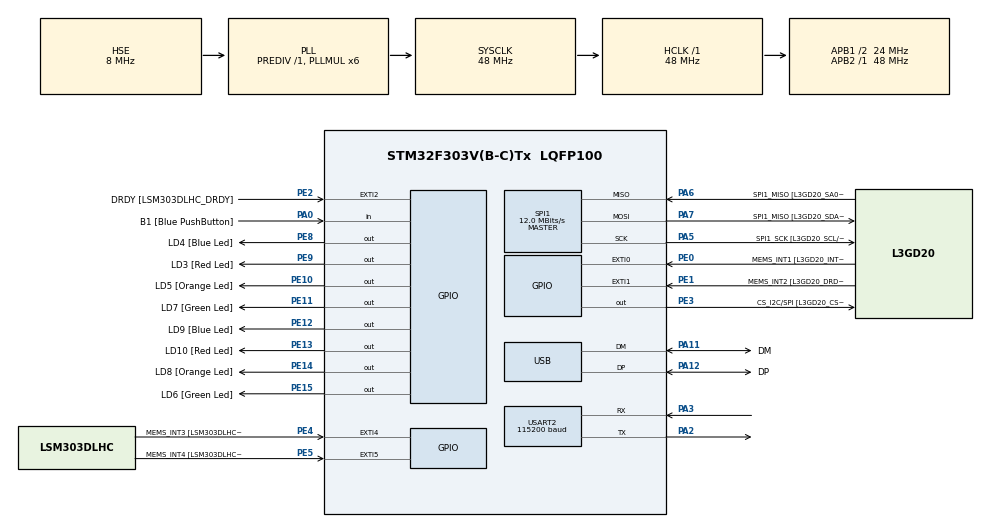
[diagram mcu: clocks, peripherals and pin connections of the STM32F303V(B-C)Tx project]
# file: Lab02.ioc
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Mcu.Family=STM32F3
Mcu.Name=STM32F303V(B-C)Tx
Mcu.Package=LQFP100
NVIC.PriorityGroup=NVIC_PRIORITYGROUP_0
PA0.GPIO_Label=B1 [Blue PushButton]
PA0.Signal=GPIO_Input
PA11.GPIO_Label=DM
PA11.Mode=Device
PA11.Signal=USB_DM
PA12.GPIO_Label=DP
PA12.Mode=Device
PA12.Signal=USB_DP
PA13.GPIO_Label=SWDIO
PA13.Mode=Serial_Wire
PA13.Signal=SYS_JTMS-SWDIO
PA14.GPIO_Label=SWCLK
PA14.Mode=Serial_Wire
PA14.Signal=SYS_JTCK-SWCLK
PA2.Mode=Asynchronous
PA2.Signal=USART2_TX
PA3.Mode=Asynchronous
PA3.Signal=USART2_RX
PA5.GPIO_Label=SPI1_SCK [L3GD20_SCL/SPC]
PA5.Mode=Full_Duplex_Master
PA5.Signal=SPI1_SCK
PA6.GPIO_Label=SPI1_MISO [L3GD20_SA0/SDO]
PA6.Mode=Full_Duplex_Master
PA6.Signal=SPI1_MISO
PA7.GPIO_Label=SPI1_MISO [L3GD20_SDA/SDI/SDO]
PA7.Mode=Full_Duplex_Master
PA7.Signal=SPI1_MOSI
PB3.GPIO_Label=SWO
PB3.Signal=SYS_JTDO-TRACESWO
PB6.GPIO_Label=I2C1_SCL [LSM303DLHC_SCL]
PB6.GPIO_Pu=GPIO_PULLUP
PB6.Signal=I2C1_SCL
PB7.GPIO_Label=I2C1_SDA [LSM303DLHC_SDA]
PB7.GPIO_Pu=GPIO_PULLUP
PB7.Signal=I2C1_SDA
PC14-OSC32_IN.GPIO_Label=OSC32_IN
PC14-OSC32_IN.Signal=RCC_OSC32_IN
PC15-OSC32_OUT.GPIO_Label=OSC32_OUT
PC15-OSC32_OUT.Signal=RCC_OSC32_OUT
PE0.GPIO_Label=MEMS_INT1 [L3GD20_INT1]
PE0.GPIO_ModeDefaultEXTI=GPIO_MODE_EVT_RISING
PE0.Signal=GPXTI0
PE1.GPIO_Label=MEMS_INT2 [L3GD20_DRDY/INT2]
PE1.GPIO_ModeDefaultEXTI=GPIO_MODE_EVT_RISING
PE1.Signal=GPXTI1
PE10.GPIO_Label=LD5 [Orange Led]
PE10.Signal=GPIO_Output
PE11.GPIO_Label=LD7 [Green Led]
PE11.Signal=GPIO_Output
PE12.GPIO_Label=LD9 [Blue Led]
PE12.Signal=GPIO_Output
PE13.GPIO_Label=LD10 [Red Led]
PE13.Signal=GPIO_Output
PE14.GPIO_Label=LD8 [Orange Led]
PE14.Signal=GPIO_Output
PE15.GPIO_Label=LD6 [Green Led]
PE15.Signal=GPIO_Output
PE2.GPIO_Label=DRDY [LSM303DLHC_DRDY]
PE2.GPIO_ModeDefaultEXTI=GPIO_MODE_EVT_RISING
PE2.Signal=GPXTI2
PE3.GPIO_Label=CS_I2C/SPI [L3GD20_CS_I2C/SPI]
PE3.Signal=GPIO_Output
PE4.GPIO_Label=MEMS_INT3 [LSM303DLHC_INT1]
PE4.GPIO_ModeDefaultEXTI=GPIO_MODE_EVT_RISING
PE4.Signal=GPXTI4
PE5.GPIO_Label=MEMS_INT4 [LSM303DLHC_INT2]
PE5.GPIO_ModeDefaultEXTI=GPIO_MODE_EVT_RISING
PE5.Signal=GPXTI5
PE8.GPIO_Label=LD4 [Blue Led]
PE8.Signal=GPIO_Output
PE9.GPIO_Label=LD3 [Red Led]
PE9.Signal=GPIO_Output
PF0-OSC_IN.GPIO_Label=OSC_IN
PF0-OSC_IN.Mode=HSE-External-Clock-Source
PF0-OSC_IN.Signal=RCC_OSC_IN
PF1-OSC_OUT.GPIO_Label=OSC_OUT
PF1-OSC_OUT.Signal=RCC_OSC_OUT
ProjectManager.HeapSize=0x200
ProjectManager.StackSize=0x400
ProjectManager.TargetToolchain=CMake
RCC.AHBFreq_Value=48000000
RCC.APB1CLKDivider=RCC_HCLK_DIV2
RCC.APB1Freq_Value=24000000
RCC.APB1TimFreq_Value=48000000
RCC.APB2Freq_Value=48000000
RCC.APB2TimFreq_Value=48000000
RCC.CortexFreq_Value=48000000
RCC.HCLKFreq_Value=48000000
RCC.HSE_VALUE=8000000
RCC.HSI_VALUE=8000000
RCC.LSE_VALUE=32768
RCC.PLLMUL=RCC_PLL_MUL6
RCC.SYSCLKFreq_VALUE=48000000
RCC.SYSCLKSourceVirtual=RCC_SYSCLKSOURCE_PLLCLK
RCC.USBFreq_Value=48000000
SPI1.BaudRatePrescaler=SPI_BAUDRATEPRESCALER_4
SPI1.BaudRatePrescaler-Full_Duplex_Master=SPI_BAUDRATEPRESCALER_2
SPI1.CalculateBaudRate=12.0 MBits/s
SPI1.CalculateBaudRate-Full_Duplex_Master=24.0 MBits/s
SPI1.Direction=SPI_DIRECTION_2LINES
SPI1.Mode=SPI_MODE_MASTER
SPI1.Mode-Full_Duplex_Master=SPI_MODE_MASTER
SPI1.VirtualType=VM_MASTER
USART2.BaudRate=115200
USART2.VirtualMode-Asynchronous=VM_ASYNC
board=STM32F3DISCOVERY

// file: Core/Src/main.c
/* USER CODE BEGIN Header */
/**
  ******************************************************************************
  * @file           : main.c
  * @brief          : Main program body
  ******************************************************************************
  * @attention
  *
  * Copyright (c) 2026 STMicroelectronics.
  * All rights reserved.
  *
  * This software is licensed under terms that can be found in the LICENSE file
  * in the root directory of this software component.
  * If no LICENSE file comes with this software, it is provided AS-IS.
  *
  ******************************************************************************
  */
/* USER CODE END Header */
#include "main.h"

SPI_HandleTypeDef hspi1;

UART_HandleTypeDef huart2;

PCD_HandleTypeDef hpcd_USB_FS;

void SystemClock_Config(void);
static void MX_GPIO_Init(void);
static void MX_SPI1_Init(void);
static void MX_USART2_UART_Init(void);
static void MX_USB_PCD_Init(void);

/* USER CODE BEGIN 0 */
void myPrintf(const char* fmt, ...) {
    char buffer[256];
    va_list args;
    va_start(args, fmt);
    int l = vsnprintf(buffer, sizeof(buffer), fmt, args);
    va_end(args);
    if (l > 0) {
        HAL_UART_Transmit(&huart2, (uint8_t*)buffer, l, HAL_MAX_DELAY);
    }
}

/* USER CODE END 0 */

int main(void)
{

  /* MCU Configuration--------------------------------------------------------*/

  /* Reset of all peripherals, Initializes the Flash interface and the Systick. */
  HAL_Init();

  /* Configure the system clock */
  SystemClock_Config();

  /* Initialize all configured peripherals */
  MX_GPIO_Init();
  MX_SPI1_Init();
  MX_USART2_UART_Init();
  MX_USB_PCD_Init();

  /* Infinite loop */
  while (1)
  {

    /* USER CODE BEGIN 3 */
    //Task1
    int x = 42;
    float y = 3.14;
    myPrintf("Value of x = %d, y = %f \r\n", x, y);

    int a=10; int b=20;

    //Task2
    int lhs=(a+b)*(a+b);
    int rhs= a*a + b*b + 2*a*b;
    myPrintf("LHS=%d, RHS=%d\r\n",lhs,rhs);
    HAL_Delay(100);

    //Task3
    char str[] = "Microcontrollers";
    int key=1000;
    for (int i=0; i< strlen(str);i++) {
      str[i]=str[i] + (key%256);
    }
    myPrintf("Encrypted string: %s\r\n", str);
    HAL_Delay(100);
    for (int i=0; i<strlen(str);i++) {
      str[i]=str[i] - (key%256);
    }
    myPrintf("Decrypted String: %s\r\n", str);
    HAL_Delay(100);

    //Task4

    int A[2][2] = {
        {1, 2},
        {3, 4}
    };

    int B[2][2] = {
        {5, 6},
        {7, 8}
    };

    int C[2][2];

    for (int i = 0; i < 2; i++)
    {
        for (int j = 0; j < 2; j++)
        {
            C[i][j] = 0;
            for (int k = 0; k < 2; k++)
            {
                C[i][j] += A[i][k] * B[k][j];
            }
        }
    }

    myPrintf("Matrix A:\r\n");
    for (int i = 0; i < 2; i++)
    {
        for (int j = 0; j < 2; j++)
        {
            myPrintf("%d ", A[i][j]);
        }
        myPrintf("\r\n");
    }

    myPrintf("Matrix B:\r\n");
    for (int i = 0; i < 2; i++)
    {
        for (int j = 0; j < 2; j++)
        {
            myPrintf("%d ", B[i][j]);
        }
        myPrintf("\r\n");
    }

    myPrintf("Matrix C (A*B):\r\n");
    for (int i = 0; i < 2; i++)
    {
        for (int j = 0; j < 2; j++)
        {
            myPrintf("%d ", C[i][j]);
        }
        myPrintf("\r\n");
    }

    HAL_Delay(2000);

    //Task5
    myPrintf("Armstrong Numbers between 100 and 999:\r\n");

    for (int num = 100; num <= 999; num++)
    {
        int temp = num;
        int sum = 0;

        while (temp > 0)
        {
            int digit = temp % 10;
            sum += digit * digit * digit;
            temp /= 10;
        }

        if (sum == num)
        {
            myPrintf("%d\r\n", num);
        }
    }

    HAL_Delay(3000);

  }
  /* USER CODE END 3 */
}

void SystemClock_Config(void)
{
  RCC_OscInitTypeDef RCC_OscInitStruct = {0};
  RCC_ClkInitTypeDef RCC_ClkInitStruct = {0};
  RCC_PeriphCLKInitTypeDef PeriphClkInit = {0};

  /** Initializes the RCC Oscillators according to the specified parameters
  * in the RCC_OscInitTypeDef structure.
  */
  RCC_OscInitStruct.OscillatorType = RCC_OSCILLATORTYPE_HSE;
  RCC_OscInitStruct.HSEState = RCC_HSE_BYPASS;
  RCC_OscInitStruct.HSEPredivValue = RCC_HSE_PREDIV_DIV1;
  RCC_OscInitStruct.HSIState = RCC_HSI_ON;
  RCC_OscInitStruct.PLL.PLLState = RCC_PLL_ON;
  RCC_OscInitStruct.PLL.PLLSource = RCC_PLLSOURCE_HSE;
  RCC_OscInitStruct.PLL.PLLMUL = RCC_PLL_MUL6;
  if (HAL_RCC_OscConfig(&RCC_OscInitStruct) != HAL_OK)
  {
    Error_Handler();
  }

  /** Initializes the CPU, AHB and APB buses clocks
  */
  RCC_ClkInitStruct.ClockType = RCC_CLOCKTYPE_HCLK|RCC_CLOCKTYPE_SYSCLK
                              |RCC_CLOCKTYPE_PCLK1|RCC_CLOCKTYPE_PCLK2;
  RCC_ClkInitStruct.SYSCLKSource = RCC_SYSCLKSOURCE_PLLCLK;
  RCC_ClkInitStruct.AHBCLKDivider = RCC_SYSCLK_DIV1;
  RCC_ClkInitStruct.APB1CLKDivider = RCC_HCLK_DIV2;
  RCC_ClkInitStruct.APB2CLKDivider = RCC_HCLK_DIV1;

  if (HAL_RCC_ClockConfig(&RCC_ClkInitStruct, FLASH_LATENCY_1) != HAL_OK)
  {
    Error_Handler();
  }
  PeriphClkInit.PeriphClockSelection = RCC_PERIPHCLK_USB|RCC_PERIPHCLK_USART2;
  PeriphClkInit.Usart2ClockSelection = RCC_USART2CLKSOURCE_PCLK1;
  PeriphClkInit.USBClockSelection = RCC_USBCLKSOURCE_PLL;
  if (HAL_RCCEx_PeriphCLKConfig(&PeriphClkInit) != HAL_OK)
  {
    Error_Handler();
  }
}

static void MX_SPI1_Init(void)
{

  /* SPI1 parameter configuration*/
  hspi1.Instance = SPI1;
  hspi1.Init.Mode = SPI_MODE_MASTER;
  hspi1.Init.Direction = SPI_DIRECTION_2LINES;
  hspi1.Init.DataSize = SPI_DATASIZE_4BIT;
  hspi1.Init.CLKPolarity = SPI_POLARITY_LOW;
  hspi1.Init.CLKPhase = SPI_PHASE_1EDGE;
  hspi1.Init.NSS = SPI_NSS_SOFT;
  hspi1.Init.BaudRatePrescaler = SPI_BAUDRATEPRESCALER_4;
  hspi1.Init.FirstBit = SPI_FIRSTBIT_MSB;
  hspi1.Init.TIMode = SPI_TIMODE_DISABLE;
  hspi1.Init.CRCCalculation = SPI_CRCCALCULATION_DISABLE;
  hspi1.Init.CRCPolynomial = 7;
  hspi1.Init.CRCLength = SPI_CRC_LENGTH_DATASIZE;
  hspi1.Init.NSSPMode = SPI_NSS_PULSE_ENABLE;
  if (HAL_SPI_Init(&hspi1) != HAL_OK)
  {
    Error_Handler();
  }

}

static void MX_USART2_UART_Init(void)
{

  huart2.Instance = USART2;
  huart2.Init.BaudRate = 115200;
  huart2.Init.WordLength = UART_WORDLENGTH_8B;
  huart2.Init.StopBits = UART_STOPBITS_1;
  huart2.Init.Parity = UART_PARITY_NONE;
  huart2.Init.Mode = UART_MODE_TX_RX;
  huart2.Init.HwFlowCtl = UART_HWCONTROL_NONE;
  huart2.Init.OverSampling = UART_OVERSAMPLING_16;
  huart2.Init.OneBitSampling = UART_ONE_BIT_SAMPLE_DISABLE;
  huart2.AdvancedInit.AdvFeatureInit = UART_ADVFEATURE_NO_INIT;
  if (HAL_UART_Init(&huart2) != HAL_OK)
  {
    Error_Handler();
  }

}

static void MX_USB_PCD_Init(void)
{

  hpcd_USB_FS.Instance = USB;
  hpcd_USB_FS.Init.dev_endpoints = 8;
  hpcd_USB_FS.Init.speed = PCD_SPEED_FULL;
  hpcd_USB_FS.Init.phy_itface = PCD_PHY_EMBEDDED;
  hpcd_USB_FS.Init.low_power_enable = DISABLE;
  hpcd_USB_FS.Init.battery_charging_enable = DISABLE;
  if (HAL_PCD_Init(&hpcd_USB_FS) != HAL_OK)
  {
    Error_Handler();
  }

}

static void MX_GPIO_Init(void)
{
  GPIO_InitTypeDef GPIO_InitStruct = {0};

  /* GPIO Ports Clock Enable */
  __HAL_RCC_GPIOE_CLK_ENABLE();
  __HAL_RCC_GPIOC_CLK_ENABLE();
  __HAL_RCC_GPIOF_CLK_ENABLE();
  __HAL_RCC_GPIOA_CLK_ENABLE();
  __HAL_RCC_GPIOB_CLK_ENABLE();

  /*Configure GPIO pin Output Level */
  HAL_GPIO_WritePin(GPIOE, CS_I2C_SPI_Pin|LD4_Pin|LD3_Pin|LD5_Pin
                          |LD7_Pin|LD9_Pin|LD10_Pin|LD8_Pin
                          |LD6_Pin, GPIO_PIN_RESET);

  /*Configure GPIO pins : DRDY_Pin MEMS_INT3_Pin MEMS_INT4_Pin MEMS_INT1_Pin
                           MEMS_INT2_Pin */
  GPIO_InitStruct.Pin = DRDY_Pin|MEMS_INT3_Pin|MEMS_INT4_Pin|MEMS_INT1_Pin
                          |MEMS_INT2_Pin;
  GPIO_InitStruct.Mode = GPIO_MODE_EVT_RISING;
  GPIO_InitStruct.Pull = GPIO_NOPULL;
  HAL_GPIO_Init(GPIOE, &GPIO_InitStruct);

  /*Configure GPIO pins : CS_I2C_SPI_Pin LD4_Pin LD3_Pin LD5_Pin
                           LD7_Pin LD9_Pin LD10_Pin LD8_Pin
                           LD6_Pin */
  GPIO_InitStruct.Pin = CS_I2C_SPI_Pin|LD4_Pin|LD3_Pin|LD5_Pin
                          |LD7_Pin|LD9_Pin|LD10_Pin|LD8_Pin
                          |LD6_Pin;
  GPIO_InitStruct.Mode = GPIO_MODE_OUTPUT_PP;
  GPIO_InitStruct.Pull = GPIO_NOPULL;
  GPIO_InitStruct.Speed = GPIO_SPEED_FREQ_LOW;
  HAL_GPIO_Init(GPIOE, &GPIO_InitStruct);

  /*Configure GPIO pin : B1_Pin */
  GPIO_InitStruct.Pin = B1_Pin;
  GPIO_InitStruct.Mode = GPIO_MODE_INPUT;
  GPIO_InitStruct.Pull = GPIO_NOPULL;
  HAL_GPIO_Init(B1_GPIO_Port, &GPIO_InitStruct);

  /*Configure GPIO pins : I2C1_SCL_Pin I2C1_SDA_Pin */
  GPIO_InitStruct.Pin = I2C1_SCL_Pin|I2C1_SDA_Pin;
  GPIO_InitStruct.Mode = GPIO_MODE_AF_OD;
  GPIO_InitStruct.Pull = GPIO_PULLUP;
  GPIO_InitStruct.Speed = GPIO_SPEED_FREQ_HIGH;
  GPIO_InitStruct.Alternate = GPIO_AF4_I2C1;
  HAL_GPIO_Init(GPIOB, &GPIO_InitStruct);

}

void Error_Handler(void)
{
  __disable_irq();
  while (1)
  {
  }
}
